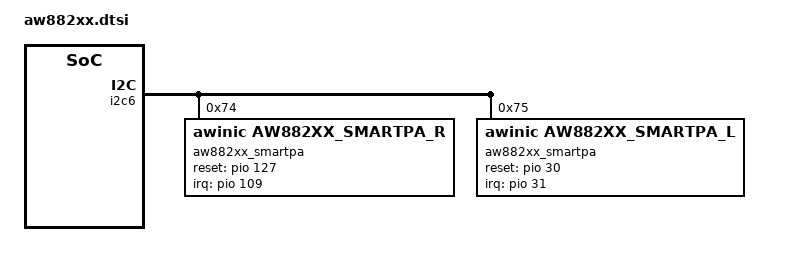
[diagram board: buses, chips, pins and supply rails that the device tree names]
/* 0x74/0x75 are virtual address, the actual address are 0x34/0x35 */
&i2c6 {
	aw882xx_smartpa@74 {
		compatible = "awinic,aw882xx_smartpa_r";
		reg = <0x74>;
		reset-gpio = <&pio 127 0>;
		irq-gpio = <&pio 109 0>;
		sound-channel = "right";
		status = "okay";
	};

	aw882xx_smartpa@75 {
		compatible = "awinic,aw882xx_smartpa_l";
		reg = <0x75>;
		reset-gpio = <&pio 30 0>;
		irq-gpio = <&pio 31 0>;
		sound-channel = "left";
		status = "okay";
	};
};
